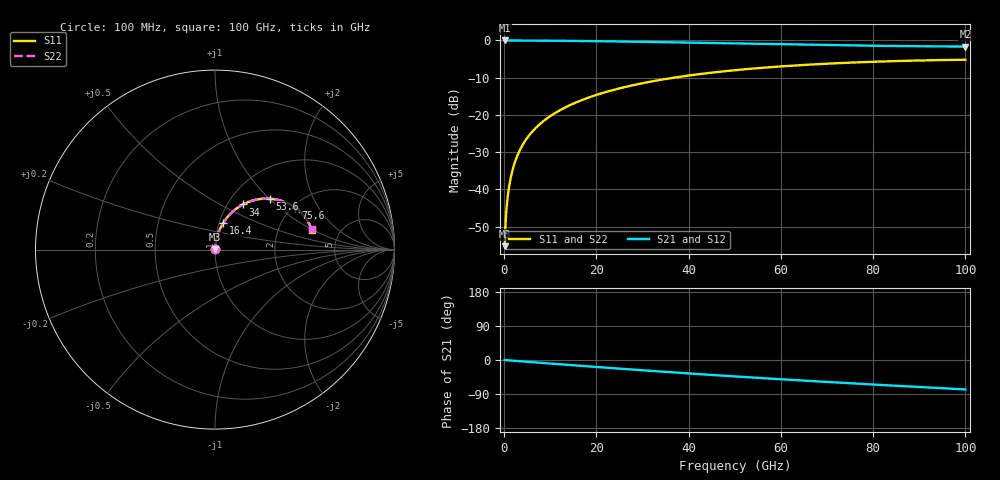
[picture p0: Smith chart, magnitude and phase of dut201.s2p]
! Touchstone file exported from HFSS 2026.1.0
!  File:  C:/ffzhzh/LocalFiles/Ansys_Project_Files/temp_train_RDL_201_1783500694_9504.aedt
!  Generated:  04:52:41 PM Jul  8, 2026
!  Design:  RDL
!  Project:  temp_train_RDL_201_1783500694_9504
! Variables:
!  h_bsmrdl = 2um
!  h_ox = 20um
!  h_rdl = 5um
!  h_sub = 80um
!  h_tmrdl = 3.46um
!  h_tsv = 80um
!  h_via = 3um
!  l_bsmrdl = 300um
!  l_sub = 632.48um
!  l_tmrdl = 232.48um
!  m_sub = 200um
!  pitch = 46.31um
!  r_tsv = 6um
!  s_tmrdl = 10um
!  w_bsmrdl = 18um
!  w_sub = 500um
!  w_tmrdl = 20.91um
!  x_tsv_center1 = 242.935um
!  x_tsv_center2 = 560.935um
!  x_tsv_center3 = 814.325um
!  x_tsv_center4 = 1132.325um
!  x_tsv_center5 = 1385.715um
!  x_tsv_center6 = 1703.715um
# GHz S MA R 50.000000
! Terminal data exported
! Port[1] = TM_RDL1_1_T1
! Port[2] = TM_RDL1_1_T2
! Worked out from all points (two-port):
!   1000 points, 100 MHz to 100 GHz, reference 50 ohm
!   highest |S21| = -0.01 dB at 100 MHz (marker M1); lowest = -1.7 dB at 100 GHz (marker M2)
!   |S21| within 3 dB of the highest: start of sweep to end of sweep
!   lowest |S11| = -55.2 dB at 100 MHz (marker M3), VSWR 1.00, Z = 50.1 + j0.108 ohm
!   |S11| at or under -10 dB: start of sweep to 36.84 GHz
!   |S22| runs from -55.2 to -5.2 dB; largest |S21 - S12| = 3.7e-15
!   S11 on the Smith chart (normalised r, x): 100 MHz: 1.00, +0.00; 16.4 GHz: 1.05, +0.32; 34 GHz: 1.18, +0.65; 53.6 GHz: 1.47, +1.01; 75.6 GHz: 2.08, +1.30; 100 GHz: 3.10, +0.99
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0.1  0.001728 38.6  0.9987 -0.1  0.9987 -0.1  0.001728 38.6
! Gamma 0 0 0 0
! Port Impedance 50 0 50 0
0.3  0.003479 64.7  0.9985 -0.3  0.9985 -0.3  0.003479 64.7
0.9  0.009202 78.7  0.9983 -0.9  0.9983 -0.9  0.009202 78.7
1.2  0.01211 80.7  0.9982 -1.1  0.9982 -1.1  0.01211 80.7
1.5  0.01504 81.8  0.9981 -1.4  0.9981 -1.4  0.01504 81.8
2  0.01993 82.8  0.998 -1.9  0.998 -1.9  0.01993 82.8
2.5  0.02482 83.2  0.9978 -2.4  0.9978 -2.4  0.02482 83.2
4  0.03943 82.9  0.997 -3.8  0.997 -3.8  0.03943 83.0
6.1  0.05963 81.6  0.9954 -5.8  0.9954 -5.8  0.05963 81.6
8.8  0.08512 79.4  0.9929 -8.3  0.9929 -8.3  0.08512 79.4
12.2  0.1165 76.5  0.989 -11.4  0.989 -11.4  0.1165 76.5
16.4  0.1542 72.9  0.9831 -15.2  0.9831 -15.2  0.1541 73.0
16.8  0.1577 72.6  0.9824 -15.5  0.9824 -15.5  0.1577 72.6
24.2  0.2206 66.3  0.9694 -22.1  0.9694 -22.1  0.2206 66.4
33.4  0.2918 58.7  0.9497 -30.0  0.9497 -30.0  0.2918 58.7
34  0.2962 58.2  0.9483 -30.5  0.9483 -30.5  0.2962 58.3
50.1  0.3985 45.5  0.9096 -43.4  0.9096 -43.4  0.3985 45.6
53.6  0.417 42.9  0.9012 -46.0  0.9012 -46.0  0.417 43.0
66.7  0.475 33.5  0.8721 -55.6  0.8721 -55.6  0.475 33.6
75.6  0.5047 27.4  0.8554 -61.7  0.8554 -61.7  0.5047 27.6
83.4  0.5248 22.2  0.8433 -67.0  0.8433 -67.0  0.5248 22.4
100  0.5506 11.6  0.8267 -77.7  0.8267 -77.7  0.5505 11.9
